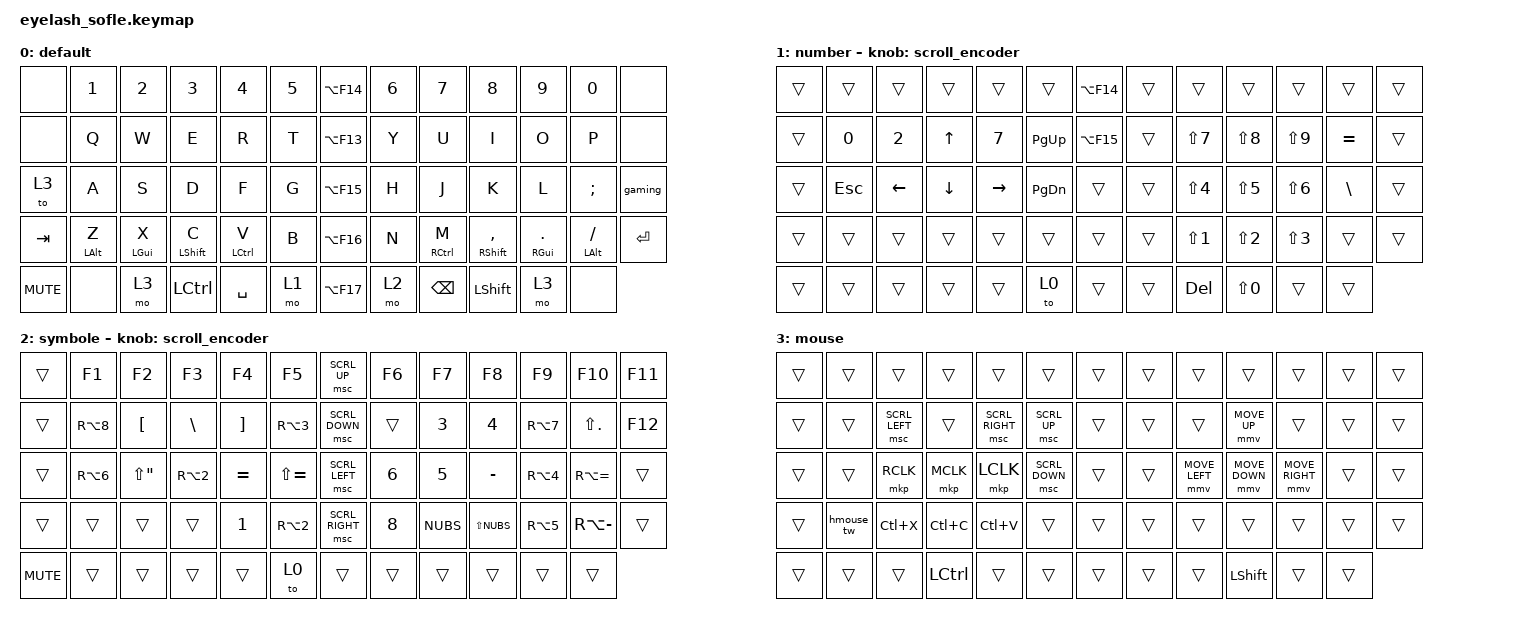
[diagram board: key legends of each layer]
// Only keep scroll speed define since we're not using pointer movement

#define ZMK_POINTING_DEFAULT_SCRL_VAL 25   // default is 10

#include <input/processors.dtsi>
#include <zephyr/dt-bindings/input/input-event-codes.h>
#include <behaviors.dtsi>
#include <dt-bindings/zmk/keys.h>
#include <dt-bindings/zmk/pointing.h>
#include <dt-bindings/zmk/rgb.h>

/* Keep scroll scaling for encoder & key-based scrolling */

&msc_input_listener { input-processors = <&zip_scroll_scaler 2 1>; };

/* Scroll behavior tuning */

&msc {
    acceleration-exponent = <1>;
    time-to-max-speed-ms = <100>;
    delay-ms = <0>;
};

/* No &mmv listener or &mmv behavior block (we're not using pointer movement) */

&soft_off { hold-time-ms = <2000>; };

/ {
    /* Rotary encoder → scroll up/down on rotation */

    scroll_encoder: scroll_encoder {
        compatible = "zmk,behavior-sensor-rotate";
        #sensor-binding-cells = <0>;
        bindings = <&msc SCRL_DOWN>, <&msc SCRL_UP>;

        tap-ms = <100>;
    };

    /* =====================  HRM behaviors (timeless-style)  ===================== */

    behaviors {
        /* Left-hand HRMs (GUI/Alt/Ctrl) */

        hml: left_homerow_mods {
            compatible = "zmk,behavior-hold-tap";
            label = "HML";
            #binding-cells = <2>;
            flavor = "balanced";
            tapping-term-ms = <280>;
            quick-tap-ms = <175>;
            require-prior-idle-ms = <125>;
            bindings = <&kp>, <&kp>;

            /* Right-hand + center arrows + all thumbs */

            hold-trigger-key-positions = <
            6 7 8 9 10 11 12
            19 20 21 22 23 24 25
            32 33 34 35 36 37 38
            45 46 47 48 49 50 51
            52 53 54 55 56 57 58 59 60 61 62 63
            >;

            hold-trigger-on-release;
        };

        /* Right-hand HRMs (Ctrl/Alt/GUI) */

        hmr: right_homerow_mods {
            compatible = "zmk,behavior-hold-tap";
            label = "HMR";
            #binding-cells = <2>;
            flavor = "balanced";
            tapping-term-ms = <280>;
            quick-tap-ms = <175>;
            require-prior-idle-ms = <125>;
            bindings = <&kp>, <&kp>;

            /* Left-hand + center arrows + all thumbs */

            hold-trigger-key-positions = <
            0 1 2 3 4 5
            6
            13 14 15 16 17 18
            19
            26 27 28 29 30 31
            32
            39 40 41 42 43 44
            45
            52 53 54 55 56 57 58 59 60 61 62 63
            >;

            hold-trigger-on-release;
        };

        /* Shift variants (shorter tapping term for quick capitalization) */

        hsl: left_shift_hrm {
            compatible = "zmk,behavior-hold-tap";
            label = "HSL";
            #binding-cells = <2>;
            flavor = "balanced";
            tapping-term-ms = <175>;
            quick-tap-ms = <175>;
            bindings = <&kp>, <&kp>;

            hold-trigger-key-positions = <
            6 7 8 9 10 11 12
            19 20 21 22 23 24 25
            32 33 34 35 36 37 38
            45 46 47 48 49 50 51
            52 53 54 55 56 57 58 59 60 61 62 63
            >;

            hold-trigger-on-release;
        };

        hsr: right_shift_hrm {
            compatible = "zmk,behavior-hold-tap";
            label = "HSR";
            #binding-cells = <2>;
            flavor = "balanced";
            tapping-term-ms = <175>;
            quick-tap-ms = <175>;
            bindings = <&kp>, <&kp>;

            hold-trigger-key-positions = <
            0 1 2 3 4 5
            6
            13 14 15 16 17 18
            19
            26 27 28 29 30 31
            32
            39 40 41 42 43 44
            45
            52 53 54 55 56 57 58 59 60 61 62 63
            >;

            hold-trigger-on-release;
        };

        lp: Long-Press {
            compatible = "zmk,behavior-hold-tap";
            label = "Long-Press";
            bindings = <&kp>, <&kp>;

            #binding-cells = <2>;
            tapping-term-ms = <350>;
            flavor = "tap-preferred";
        };
    };

    combos {
        compatible = "zmk,combos";

        softoff {
            bindings = <&soft_off>;
            key-positions = <14 28 40>;
        };
    };

    /* =====================  No macros section (removed)  ===================== */

    macros {
        hmouse_tw: h-to4-rb-on_t-w {
            compatible = "zmk,behavior-macro";
            #binding-cells = <0>;
            bindings =
                <&macro_tap>,
                <&kp W>,
                <&macro_press>,
                <&mo 3 &rgb_ug RGB_ON>,
                <&macro_release>,
                <&to 0 &rgb_ug RGB_OFF>;

            label = "TL1_RGB";
        };

        gaming: h-to2-rb-on_t-v {
            compatible = "zmk,behavior-macro";
            #binding-cells = <0>;
            bindings = <&to 0 &rgb_ug RGB_ON>;
            label = "NEW_MACRO";
        };

        quit_gaming: quit_gaming {
            compatible = "zmk,behavior-macro";
            #binding-cells = <0>;
            bindings = <&to 0 &rgb_ug RGB_OFF>;
            label = "QUIT_GAMING";
        };
    };

    keymap {
        compatible = "zmk,keymap";

        /* Layer 0: default */

        default {
            bindings = <
&none       &kp N1          &kp N2          &kp N3            &kp N4              &kp N5    &kp LA(F14)  &kp N6  &kp N7               &kp N8                 &kp N9             &kp N0             &none
&none       &kp Q           &kp W           &kp E             &kp R               &kp T     &kp LA(F13)  &kp Y   &kp U                &kp I                  &kp O              &kp P              &none
&to 3       &kp A           &kp S           &kp D             &kp F               &kp G     &kp LA(F15)  &kp H   &kp J                &kp K                  &kp L              &kp SEMICOLON      &gaming
&kp TAB     &lp LEFT_ALT Z  &lp LEFT_GUI X  &lp LEFT_SHIFT C  &lp LEFT_CONTROL V  &kp B     &kp LA(F16)  &kp N   &lp RIGHT_CONTROL M  &lp RIGHT_SHIFT COMMA  &lp RIGHT_GUI DOT  &lp LEFT_ALT FSLH  &kp RET
&kp C_MUTE  &none           &mo 3           &kp LCTRL         &kp SPACE           &mo 1     &kp LA(F17)  &mo 2   &kp BACKSPACE        &kp LEFT_SHIFT         &mo 3              &none
            >;

            display-name = "default";
        };

        /* Layer 1: lower */

        number {
            bindings = <
&trans  &trans        &trans          &trans          &trans           &trans           &kp LA(F14)  &trans  &trans            &trans      &trans      &trans         &trans
&trans  &kp NUMBER_0  &kp NUMBER_2    &kp UP_ARROW    &kp NUMBER_7     &kp PAGE_UP      &kp LA(F15)  &trans  &kp LS(N7)        &kp LS(N8)  &kp LS(N9)  &kp EQUAL      &trans
&trans  &kp ESCAPE    &kp LEFT_ARROW  &kp DOWN_ARROW  &kp RIGHT_ARROW  &kp PAGE_DOWN    &trans       &trans  &kp LS(N4)        &kp LS(N5)  &kp LS(N6)  &kp BACKSLASH  &trans
&trans  &trans        &trans          &trans          &trans           &trans           &trans       &trans  &kp LS(NUMBER_1)  &kp LS(N2)  &kp LS(N3)  &trans         &trans
&trans  &trans        &trans          &trans          &trans           &to 0            &trans       &trans  &kp DELETE        &kp LS(N0)  &trans      &trans
            >;

            label = "number";
            sensor-bindings = <&scroll_encoder>;
        };

        /* Layer 2: upper — middle column now scrolls instead of arrow keys */

        symbole {
            bindings = <
&trans      &kp F1            &kp F2                 &kp F3            &kp F4             &kp F5              &msc SCRL_UP     &kp F6        &kp F7        &kp F8        &kp F9            &kp F10         &kp F11
&trans      &kp RA(NUMBER_8)  &kp LEFT_BRACKET       &kp BACKSLASH     &kp RIGHT_BRACKET  &kp RA(NUMBER_3)    &msc SCRL_DOWN   &trans        &kp NUMBER_3  &kp NUMBER_4  &kp RA(NUMBER_7)  &kp LS(PERIOD)  &kp F12
&trans      &kp RA(NUMBER_6)  &kp LS(DOUBLE_QUOTES)  &kp RA(NUMBER_2)  &kp EQUAL          &kp LS(EQUAL)       &msc SCRL_LEFT   &kp NUMBER_6  &kp NUMBER_5  &kp MINUS     &kp RA(NUMBER_4)  &kp RA(EQUAL)   &trans
&trans      &trans            &trans                 &trans            &kp NUMBER_1       &kp RA(NUMBER_2)    &msc SCRL_RIGHT  &kp NUMBER_8  &kp NUBS      &kp LS(NUBS)  &kp RA(NUMBER_5)  &kp RA(MINUS)   &trans
&kp C_MUTE  &trans            &trans                 &trans            &trans             &to 0               &trans           &trans        &trans        &trans        &trans            &trans
            >;

            display-name = "symbole";
            sensor-bindings = <&scroll_encoder>;
        };

        /* Layer 3: adjust (“legs”) */

        mouse {
            bindings = <
&trans  &trans      &trans          &trans            &trans           &trans            &trans  &trans  &trans          &trans          &trans           &trans  &trans
&trans  &trans      &msc SCRL_LEFT  &trans            &msc SCRL_RIGHT  &msc SCRL_UP      &trans  &trans  &trans          &mmv MOVE_UP    &trans           &trans  &trans
&trans  &trans      &mkp RCLK       &mkp MCLK         &mkp LCLK        &msc SCRL_DOWN    &trans  &trans  &mmv MOVE_LEFT  &mmv MOVE_DOWN  &mmv MOVE_RIGHT  &trans  &trans
&trans  &hmouse_tw  &kp LC(X)       &kp LC(C)         &kp LC(V)        &trans            &trans  &trans  &trans          &trans          &trans           &trans  &trans
&trans  &trans      &trans          &kp LEFT_CONTROL  &trans           &trans            &trans  &trans  &trans          &kp LEFT_SHIFT  &trans           &trans
            >;

            label = "mouse";
        };
    };

    conditional_layers { compatible = "zmk,conditional-layers"; };
};
